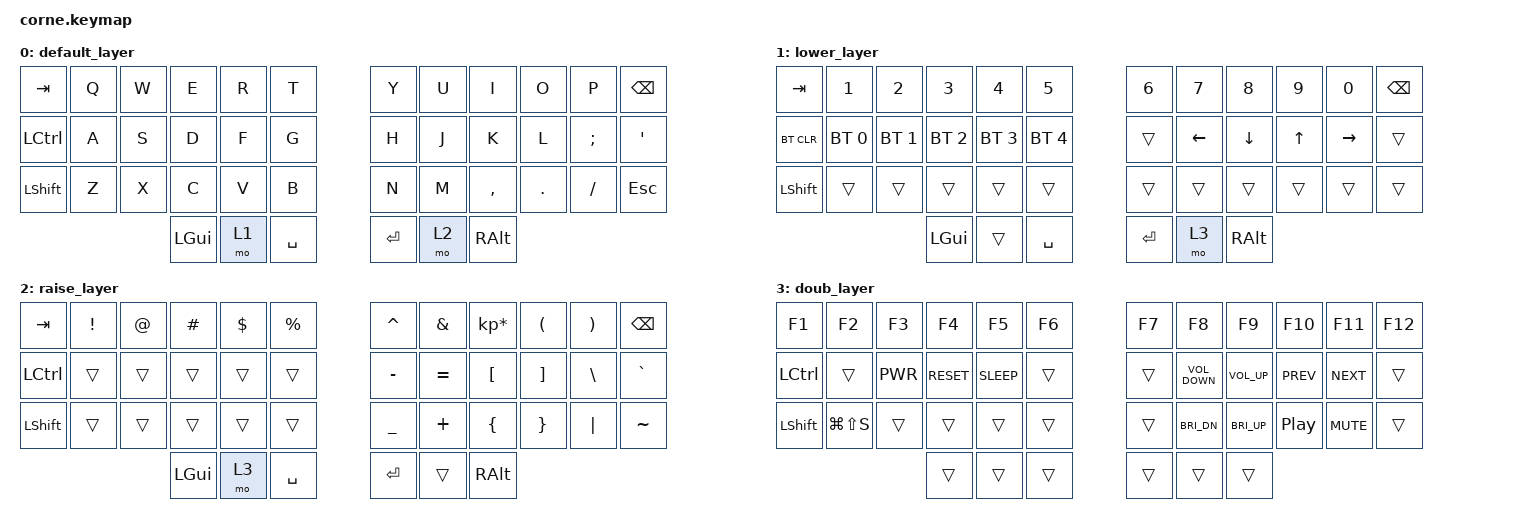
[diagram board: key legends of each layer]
/*
 * Copyright (c) 2020 The ZMK Contributors
 *
 * SPDX-License-Identifier: MIT
 */

#include <behaviors.dtsi>
#include <dt-bindings/zmk/keys.h>
#include <dt-bindings/zmk/bt.h>

/ {
        keymap {
                compatible = "zmk,keymap";

                default_layer {
// -----------------------------------------------------------------------------------------
// |  TAB |  Q  |  W  |  E  |  R  |  T  |   |  Y  |  U   |  I  |  O  |  P  | BKSP |
// | CTRL |  A  |  S  |  D  |  F  |  G  |   |  H  |  J   |  K  |  L  |  ;  |  '   |
// | SHFT |  Z  |  X  |  C  |  V  |  B  |   |  N  |  M   |  ,  |  .  |  /  | ESC  |
//                    | GUI | LWR | SPC |   | ENT | RSE  | ALT |
                        bindings = <
   &kp TAB   &kp Q &kp W &kp E &kp R &kp T   &kp Y &kp U  &kp I     &kp O   &kp P    &kp BSPC
   &kp LCTRL &kp A &kp S &kp D &kp F &kp G   &kp H &kp J  &kp K     &kp L   &kp SEMI &kp SQT
   &kp LSHFT &kp Z &kp X &kp C &kp V &kp B   &kp N &kp M  &kp COMMA &kp DOT &kp FSLH &kp ESC
                  &kp LGUI &mo 1 &kp SPACE   &kp RET &mo 2 &kp RALT
                        >;
                };
                lower_layer {
// -----------------------------------------------------------------------------------------
// |  TAB |  1  |  2  |  3  |  4  |  5  |   |  6  |  7  |  8  |  9  |  0  | BKSP |
// | BTCLR| BT1 | BT2 | BT3 | BT4 | BT5 |   |     | LFT | DWN | UP  | RGHT|      |
// | SHFT |     |     |     |     |     |   |     |     |     |     |     |      |
//                    | GUI |     | SPC |   | ENT | DBL | ALT |
                        bindings = <
   &kp TAB    &kp N1       &kp N2       &kp N3       &kp N4       &kp N5         &kp N6   &kp N7   &kp N8   &kp N9   &kp N0    &kp BSPC
   &bt BT_CLR &bt BT_SEL 0 &bt BT_SEL 1 &bt BT_SEL 2 &bt BT_SEL 3 &bt BT_SEL 4   &trans   &kp LEFT &kp DOWN &kp UP   &kp RIGHT &trans
   &kp LSHFT  &trans       &trans       &trans       &trans       &trans         &trans   &trans   &trans   &trans   &trans    &trans
                                        &kp LGUI     &trans       &kp SPACE      &kp RET  &mo 3    &kp RALT
                        >;
                };

                raise_layer {
// -----------------------------------------------------------------------------------------
// |  TAB |  !  |  @  |  #  |  $  |  %  |   |  ^  |  &  |  *  |  (  |  )  | BKSP |
// | CTRL |     |     |     |     |     |   |  -  |  =  |  [  |  ]  |  \  |  `   |
// | SHFT |     |     |     |     |     |   |  _  |  +  |  {  |  }  | "|" |  ~   |
//                    | GUI | DBL | SPC |   | ENT |     | ALT |
                        bindings = <
   &kp  TAB  &kp EXCL &kp AT &kp HASH &kp DLLR &kp PRCNT   &kp CARET &kp AMPS  &kp KP_MULTIPLY &kp LPAR &kp RPAR &kp BSPC
   &kp LCTRL &trans   &trans &trans   &trans   &trans      &kp MINUS &kp EQUAL &kp LBKT        &kp RBKT &kp BSLH &kp GRAVE
   &kp LSHFT &trans   &trans &trans   &trans   &trans      &kp UNDER &kp PLUS  &kp LBRC        &kp RBRC &kp PIPE &kp TILDE
                             &kp LGUI &mo 3    &kp SPACE   &kp RET   &trans    &kp RALT
                        >;
                };
                doub_layer {
// ----------------------------------------     -----------------------------------------------
// |  F1  |  F2 | F3  | F4  | F5  | F6  |||     ||| F7  |  F8   |  F9   |  F10  |  F11  | F12 |
// | CTRL |     | PWR | RST | SLP |     |||     |||     |  VOL- |  VOL+ | BCKTR | FWDTR |     |
// | SHFT | S/S |     |     |     |     |||     |||     | BRGT- | BRGT+ |  P/P  | MUTE  |     |
// -------------------| GUI |     | SPC |||     ||| ENT |       |  ALT  |----------------------
//                    ---------------------     -------------------------
                        bindings = <
   &kp F1      &kp F2        &kp F3      &kp F4       &kp F5       &kp F6      &kp F7      &kp F8              &kp F9           &kp F10      &kp F11      &kp F12
   &kp LCTRL   &trans        &kp C_PWR   &kp C_RESET  &kp C_SLEEP  &trans      &trans      &kp  C_VOLUME_DOWN  &kp C_VOLUME_UP  &kp C_PREV   &kp C_NEXT   &trans
   &kp LSHFT   &kp LG(LS(S)) &trans      &trans       &trans       &trans      &trans      &kp C_BRI_DN        &kp C_BRI_UP     &kp C_PP     &kp C_MUTE   &trans
                                         &trans       &trans       &trans      &trans      &trans              &trans
                        >;
                };
        };
};
